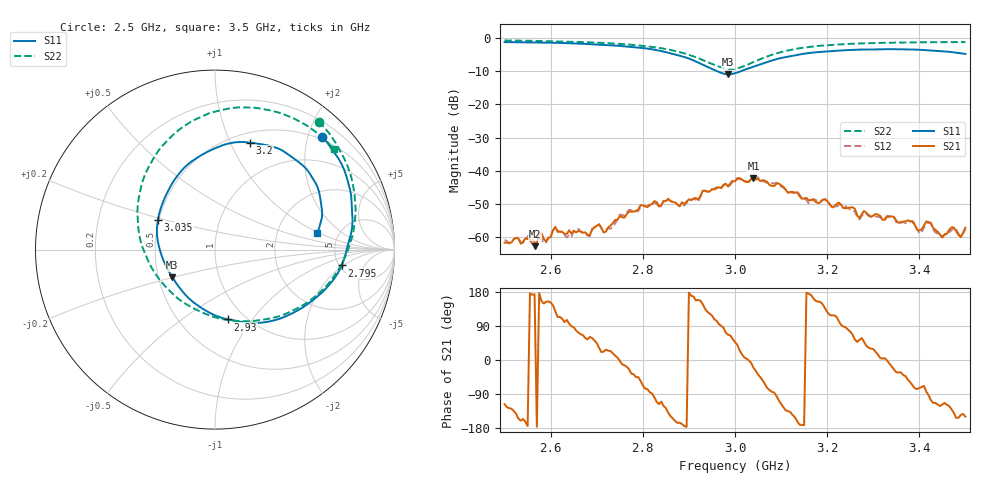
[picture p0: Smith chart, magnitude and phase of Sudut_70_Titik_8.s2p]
# Hz S RI R 50
! CMT, C1220, 16058040, 17.2.0/1
! Date: 15/08/2018 09:54:39
! Data: Format (Calibration Info)
! Freq  S11: Re/Im (F2)  S21: Re/Im (F2)  S12: Re/Im (F2)  S22: Re/Im (F2)
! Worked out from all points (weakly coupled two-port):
!   201 points, 2.5 GHz to 3.5 GHz, reference 50 ohm
!   highest |S21| = -42.19 dB at 3.04 GHz (marker M1); lowest = -62.7 dB at 2.565 GHz (marker M2)
!   lowest |S11| = -11.0 dB at 2.985 GHz (marker M3), VSWR 1.79, Z = 29.6 - j9.88 ohm
!   |S11| at or under -10 dB: 2.961 GHz to 3.013 GHz (51.77 MHz wide, 1.73 % of centre)
!   |S22| runs from -9.4 to -0.7 dB; largest |S21 - S12| = 0.0007
!   S11 on the Smith chart (normalised r, x): 2.5 GHz: 0.44, +2.26; 2.795 GHz: 5.23, -1.86; 2.93 GHz: 0.83, -0.77; 3.035 GHz: 0.49, +0.19; 3.2 GHz: 0.60, +1.19; 3.5 GHz: 3.43, +0.93
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2.5e9  0.5979 0.6287  -0.000375 -0.000742  -0.000405 -0.000825  0.5782 0.7131
2.565e9  0.6694 0.5335  -0.00073 8.39e-05  -0.000799 0.000232  0.6493 0.6293
2.61e9  0.7156 0.4539  -0.000904 0.00112  -0.000882 0.00107  0.6937 0.5566
2.67e9  0.7569 0.3112  0.000486 0.00107  0.000524 0.00104  0.7483 0.4395
2.72e9  0.7659 0.1718  0.00109 0.000558  0.00121 0.000515  0.7769 0.3149
2.795e9  0.7054 -0.0881  0.00175 -0.00249  0.0016 -0.00235  0.7648 0.0727
2.835e9  0.6043 -0.2309  -0.00129 -0.00261  -0.00118 -0.00256  0.7047 -0.0819
2.92e9  0.1401 -0.4021  -0.00343 0.00136  -0.00323 0.00124  0.3209 -0.3806
2.93e9  0.0734 -0.3891  -0.00422 0.0027  -0.00432 0.00241  0.2506 -0.3927
2.985e9  -0.2379 -0.1538  0.00228 0.00534  0.00208 0.00552  -0.1764 -0.2947
3e9  -0.2891 -0.0554  0.00473 0.00511  0.00499 0.00487  -0.2746 -0.2073
3.035e9  -0.318 0.167  0.00749 -0.000957  0.00752 -0.000881  -0.416 0.0529
3.04e9  -0.3117 0.1979  0.00728 -0.00272  0.00754 -0.0026  -0.4242 0.0946
3.17e9  0.0998 0.5957  -0.00355 0.00109  -0.0037 0.000816  -0.0723 0.7427
3.2e9  0.1942 0.5963  -0.00211 0.00283  -0.00198 0.00297  0.0406 0.7782
3.27e9  0.3812 0.5485  0.00117 0.00155  0.00109 0.00148  0.2623 0.784
3.335e9  0.508 0.4512  0.00201 -0.000335  0.00204 -0.000433  0.4156 0.7408
3.385e9  0.5662 0.3597  0.00069 -0.00157  0.000714 -0.00162  0.5082 0.6934
3.4e9  0.5767 0.3312  0.000355 -0.00121  0.000198 -0.00113  0.5317 0.6767
3.425e9  0.5888 0.2694  -0.000451 -0.00159  -0.000484 -0.00154  0.5703 0.649
3.45e9  0.5968 0.2088  -0.000454 -0.00088  -0.000427 -0.000945  0.6051 0.6195
3.5e9  0.568 0.0907  -0.0012 -0.000708  -0.00118 -0.000594  0.6632 0.5594
